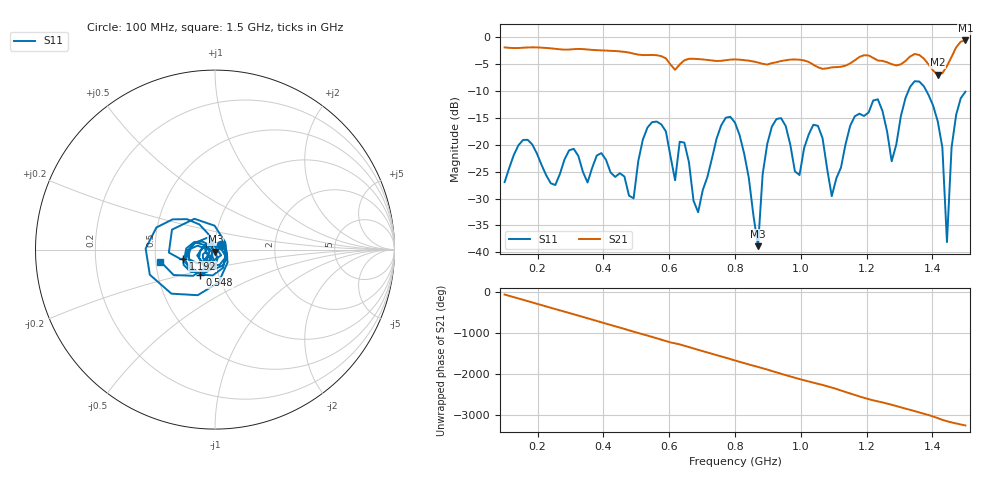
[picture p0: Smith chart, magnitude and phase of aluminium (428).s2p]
! NanoVNA-App
! Date: 2025-09-25 14:58:37
! Start: 100MHz Stop: 1,5GHz Points: 101
! S-Parameter data: F S11 S21 S12 S22
# Hz S RI R 50
!  Frequency  S11_Real  S11_Imag  S21_Real  S21_Imag  S12_Real  S12_Imag  S22_Real  S22_Imag
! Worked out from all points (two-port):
!   101 points, 100 MHz to 1.5 GHz, reference 50 ohm
!   highest |S21| = -0.62 dB at 1.5 GHz (marker M1); lowest = -7.0 dB at 1.416 GHz (marker M2)
!   |S21| within 3 dB of the highest: start of sweep to 578.7 MHz; 1.332 GHz to 1.366 GHz (34.51 MHz wide, 2.56 % of centre) (the widest 2 of 4)
!   lowest |S11| = -38.9 dB at 870 MHz (marker M3), VSWR 1.02, Z = 50.3 - j1.11 ohm
!   |S11| at or under -10 dB: start of sweep to 1.327 GHz; 1.381 GHz to end of sweep
!   S12 and S22 are empty: the file has one direction only
!   S11 on the Smith chart (normalised r, x): 100 MHz: 1.07, +0.06; 548 MHz: 0.82, -0.24; 1.192 GHz: 0.69, -0.07; 1.5 GHz: 0.53, -0.08
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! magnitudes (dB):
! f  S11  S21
! 100 MHz  -27.0  -1.9
! 156 MHz  -19.1  -2.0
! 338 MHz  -25.1  -2.2
! 492 MHz  -30.0  -3.1
! 548 MHz  -15.8  -3.3
! 576 MHz  -16.2  -3.5
! 646 MHz  -19.6  -4.3
! 688 MHz  -32.6  -4.1
! 800 MHz  -15.9  -4.1
! 870 MHz  -38.9  -4.7
! 912 MHz  -16.6  -4.8
! 996 MHz  -25.6  -4.2
! 1.038 GHz  -16.3  -5.1
! 1.094 GHz  -29.6  -5.6
! 1.192 GHz  -14.7  -3.4
! 1.234 GHz  -11.6  -4.4
! 1.276 GHz  -23.1  -5.0
! 1.346 GHz  -8.2  -3.1
! 1.416 GHz  -15.7  -7.0
! 1.444 GHz  -38.1  -5.4
! 1.458 GHz  -20.5  -3.7
! 1.5 GHz  -10.1  -0.6
